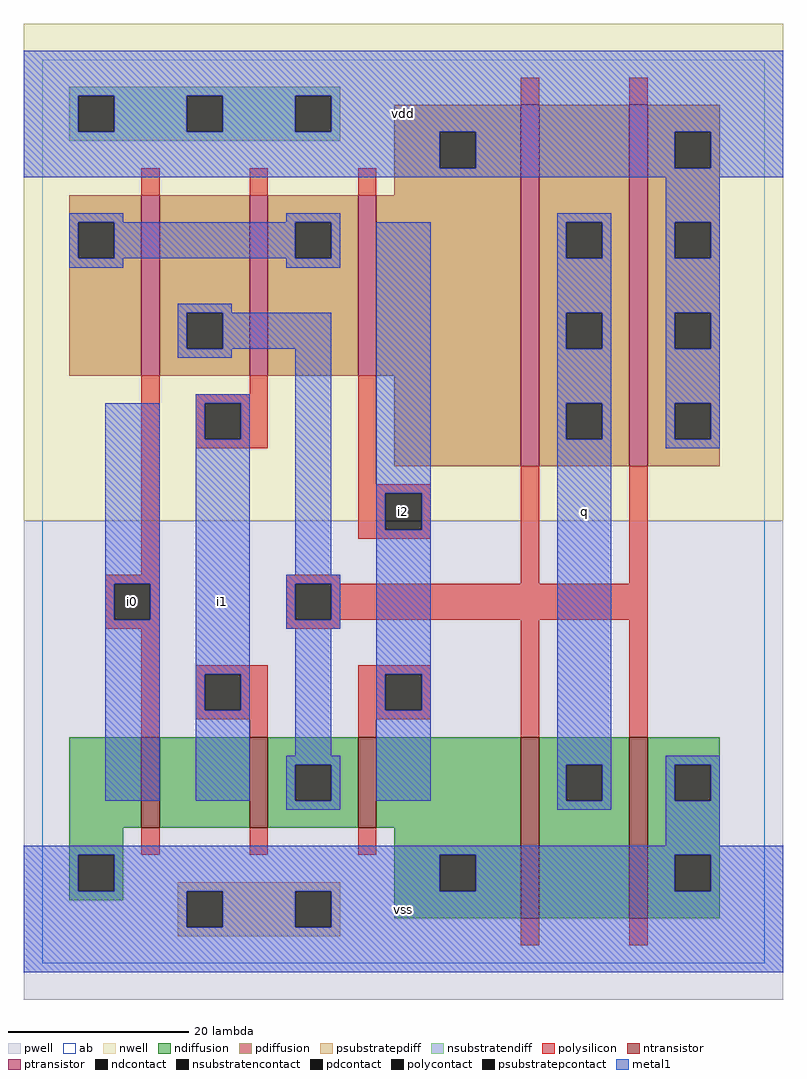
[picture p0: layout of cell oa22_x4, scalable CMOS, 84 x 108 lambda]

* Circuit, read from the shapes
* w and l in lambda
.subckt oa22_x4 i0 i1 i2 q vdd vss
M1 n1 i0 vss vss nfet w=10 l=2
M2 n2 i1 n1 vss nfet w=10 l=2
M3 vss i2 n2 vss nfet w=10 l=2
M4 q n2 vss vss nfet w=20 l=2 m=2
M5 n2 i0 n3 vdd pfet w=20 l=2
M6 n3 i1 n2 vdd pfet w=20 l=2
M7 vdd i2 n3 vdd pfet w=20 l=2
M8 q n2 vdd vdd pfet w=40 l=2 m=2
.ends

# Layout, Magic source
magic
tech scmos
<< ab >>
rect 0 0 80 100
<< pwell >>
rect -2 -4 82 49
<< nwell >>
rect -2 49 82 104
<< polysilicon >>
rect 53 95 55 98
rect 65 95 67 98
rect 11 85 13 88
rect 23 85 25 88
rect 35 85 37 88
rect 11 43 13 65
rect 23 63 25 65
rect 17 62 25 63
rect 17 58 18 62
rect 22 58 25 62
rect 17 57 25 58
rect 35 53 37 65
rect 35 52 43 53
rect 35 48 38 52
rect 42 48 43 52
rect 35 47 43 48
rect 7 42 13 43
rect 7 38 8 42
rect 12 38 13 42
rect 7 37 13 38
rect 27 42 33 43
rect 53 42 55 55
rect 65 42 67 55
rect 27 38 28 42
rect 32 38 67 42
rect 27 37 33 38
rect 11 25 13 37
rect 17 32 25 33
rect 17 28 18 32
rect 22 28 25 32
rect 17 27 25 28
rect 23 25 25 27
rect 35 32 43 33
rect 35 28 38 32
rect 42 28 43 32
rect 35 27 43 28
rect 35 25 37 27
rect 53 25 55 38
rect 65 25 67 38
rect 11 12 13 15
rect 23 12 25 15
rect 35 12 37 15
rect 53 2 55 5
rect 65 2 67 5
<< ndiffusion >>
rect 3 15 11 25
rect 13 15 23 25
rect 25 22 35 25
rect 25 18 28 22
rect 32 18 35 22
rect 25 15 35 18
rect 37 15 53 25
rect 3 12 9 15
rect 39 12 53 15
rect 3 8 4 12
rect 8 8 9 12
rect 3 7 9 8
rect 39 8 44 12
rect 48 8 53 12
rect 39 5 53 8
rect 55 22 65 25
rect 55 18 58 22
rect 62 18 65 22
rect 55 5 65 18
rect 67 22 75 25
rect 67 18 70 22
rect 74 18 75 22
rect 67 12 75 18
rect 67 8 70 12
rect 74 8 75 12
rect 67 5 75 8
<< pdiffusion >>
rect 39 92 53 95
rect 39 88 44 92
rect 48 88 53 92
rect 39 85 53 88
rect 3 82 11 85
rect 3 78 4 82
rect 8 78 11 82
rect 3 65 11 78
rect 13 72 23 85
rect 13 68 16 72
rect 20 68 23 72
rect 13 65 23 68
rect 25 82 35 85
rect 25 78 28 82
rect 32 78 35 82
rect 25 65 35 78
rect 37 65 53 85
rect 39 55 53 65
rect 55 82 65 95
rect 55 78 58 82
rect 62 78 65 82
rect 55 72 65 78
rect 55 68 58 72
rect 62 68 65 72
rect 55 62 65 68
rect 55 58 58 62
rect 62 58 65 62
rect 55 55 65 58
rect 67 92 75 95
rect 67 88 70 92
rect 74 88 75 92
rect 67 82 75 88
rect 67 78 70 82
rect 74 78 75 82
rect 67 72 75 78
rect 67 68 70 72
rect 74 68 75 72
rect 67 62 75 68
rect 67 58 70 62
rect 74 58 75 62
rect 67 55 75 58
<< metal1 >>
rect -2 96 82 101
rect -2 92 4 96
rect 8 92 16 96
rect 20 92 28 96
rect 32 92 82 96
rect -2 88 44 92
rect 48 88 70 92
rect 74 88 82 92
rect -2 87 82 88
rect 3 82 9 83
rect 27 82 33 83
rect 57 82 63 83
rect 3 78 4 82
rect 8 78 28 82
rect 32 78 33 82
rect 3 77 9 78
rect 27 77 33 78
rect 15 72 21 73
rect 15 68 16 72
rect 20 68 32 72
rect 15 67 21 68
rect 17 62 23 63
rect 7 42 13 62
rect 7 38 8 42
rect 12 38 13 42
rect 7 18 13 38
rect 17 58 18 62
rect 22 58 23 62
rect 17 32 23 58
rect 28 43 32 68
rect 37 52 43 82
rect 37 48 38 52
rect 42 48 43 52
rect 27 42 33 43
rect 27 38 28 42
rect 32 38 33 42
rect 27 37 33 38
rect 17 28 18 32
rect 22 28 23 32
rect 17 18 23 28
rect 28 23 32 37
rect 37 32 43 48
rect 37 28 38 32
rect 42 28 43 32
rect 27 22 33 23
rect 27 18 28 22
rect 32 18 33 22
rect 37 18 43 28
rect 57 78 58 82
rect 62 78 63 82
rect 57 72 63 78
rect 57 68 58 72
rect 62 68 63 72
rect 57 62 63 68
rect 57 58 58 62
rect 62 58 63 62
rect 57 22 63 58
rect 69 82 75 87
rect 69 78 70 82
rect 74 78 75 82
rect 69 72 75 78
rect 69 68 70 72
rect 74 68 75 72
rect 69 62 75 68
rect 69 58 70 62
rect 74 58 75 62
rect 69 57 75 58
rect 57 18 58 22
rect 62 18 63 22
rect 27 17 33 18
rect 57 17 63 18
rect 69 22 75 23
rect 69 18 70 22
rect 74 18 75 22
rect 69 13 75 18
rect -2 12 82 13
rect -2 8 4 12
rect 8 8 44 12
rect 48 8 70 12
rect 74 8 82 12
rect -2 4 16 8
rect 20 4 28 8
rect 32 4 82 8
rect -2 -1 82 4
<< ntransistor >>
rect 11 15 13 25
rect 23 15 25 25
rect 35 15 37 25
rect 53 5 55 25
rect 65 5 67 25
<< ptransistor >>
rect 11 65 13 85
rect 23 65 25 85
rect 35 65 37 85
rect 53 55 55 95
rect 65 55 67 95
<< polycontact >>
rect 18 58 22 62
rect 38 48 42 52
rect 8 38 12 42
rect 28 38 32 42
rect 18 28 22 32
rect 38 28 42 32
<< ndcontact >>
rect 28 18 32 22
rect 4 8 8 12
rect 44 8 48 12
rect 58 18 62 22
rect 70 18 74 22
rect 70 8 74 12
<< pdcontact >>
rect 44 88 48 92
rect 4 78 8 82
rect 16 68 20 72
rect 28 78 32 82
rect 58 78 62 82
rect 58 68 62 72
rect 58 58 62 62
rect 70 88 74 92
rect 70 78 74 82
rect 70 68 74 72
rect 70 58 74 62
<< psubstratepcontact >>
rect 16 4 20 8
rect 28 4 32 8
<< nsubstratencontact >>
rect 4 92 8 96
rect 16 92 20 96
rect 28 92 32 96
<< psubstratepdiff >>
rect 15 8 33 9
rect 15 4 16 8
rect 20 4 28 8
rect 32 4 33 8
rect 15 3 33 4
<< nsubstratendiff >>
rect 3 96 33 97
rect 3 92 4 96
rect 8 92 16 96
rect 20 92 28 96
rect 32 92 33 96
rect 3 91 33 92
<< labels >>
rlabel polycontact 10 40 10 40 6 i0
rlabel polycontact 10 40 10 40 6 i0
rlabel metal1 20 40 20 40 6 i1
rlabel metal1 20 40 20 40 6 i1
rlabel metal1 40 6 40 6 6 vss
rlabel metal1 40 6 40 6 6 vss
rlabel metal1 60 50 60 50 6 q
rlabel metal1 60 50 60 50 6 q
rlabel polycontact 40 50 40 50 6 i2
rlabel polycontact 40 50 40 50 6 i2
rlabel metal1 40 94 40 94 6 vdd
rlabel metal1 40 94 40 94 6 vdd
<< end >>
